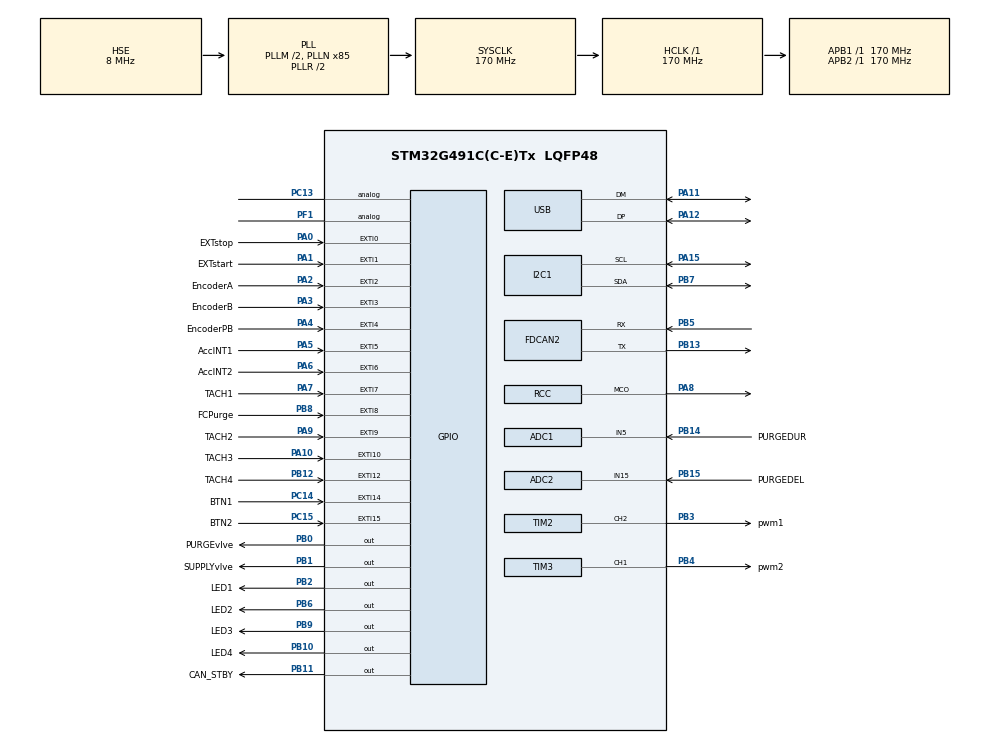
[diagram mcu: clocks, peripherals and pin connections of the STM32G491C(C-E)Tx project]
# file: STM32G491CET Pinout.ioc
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ADC1.Channel-2\#ChannelRegularConversion=ADC_CHANNEL_5
ADC1.ContinuousConvMode=ENABLE
ADC1.DMAContinuousRequests=ENABLE
ADC1.NbrOfConversionFlag=1
ADC1.OffsetNumber-2\#ChannelRegularConversion=ADC_OFFSET_NONE
ADC1.Rank-2\#ChannelRegularConversion=1
ADC1.SamplingTime-2\#ChannelRegularConversion=ADC_SAMPLETIME_24CYCLES_5
ADC1.master=1
ADC2.Channel-0\#ChannelRegularConversion=ADC_CHANNEL_15
ADC2.ContinuousConvMode=ENABLE
ADC2.DMAContinuousRequests=ENABLE
ADC2.NbrOfConversionFlag=1
ADC2.OffsetNumber-0\#ChannelRegularConversion=ADC_OFFSET_NONE
ADC2.Rank-0\#ChannelRegularConversion=1
ADC2.SamplingTime-0\#ChannelRegularConversion=ADC_SAMPLETIME_2CYCLES_5
Dma.ADC1.0.Direction=DMA_PERIPH_TO_MEMORY
Dma.ADC1.0.EventEnable=DISABLE
Dma.ADC1.0.Instance=DMA1_Channel1
Dma.ADC1.0.MemDataAlignment=DMA_MDATAALIGN_WORD
Dma.ADC1.0.MemInc=DMA_MINC_ENABLE
Dma.ADC1.0.Mode=DMA_CIRCULAR
Dma.ADC1.0.PeriphDataAlignment=DMA_PDATAALIGN_HALFWORD
Dma.ADC1.0.PeriphInc=DMA_PINC_DISABLE
Dma.ADC1.0.Polarity=HAL_DMAMUX_REQ_GEN_RISING
Dma.ADC1.0.Priority=DMA_PRIORITY_LOW
Dma.ADC1.0.RequestNumber=1
Dma.ADC1.0.SignalID=NONE
Dma.ADC1.0.SyncEnable=DISABLE
Dma.ADC1.0.SyncPolarity=HAL_DMAMUX_SYNC_NO_EVENT
Dma.ADC1.0.SyncRequestNumber=1
Dma.ADC1.0.SyncSignalID=NONE
Dma.ADC2.1.Direction=DMA_PERIPH_TO_MEMORY
Dma.ADC2.1.EventEnable=DISABLE
Dma.ADC2.1.Instance=DMA1_Channel2
Dma.ADC2.1.MemDataAlignment=DMA_MDATAALIGN_WORD
Dma.ADC2.1.MemInc=DMA_MINC_ENABLE
Dma.ADC2.1.Mode=DMA_CIRCULAR
Dma.ADC2.1.PeriphDataAlignment=DMA_PDATAALIGN_HALFWORD
Dma.ADC2.1.PeriphInc=DMA_PINC_DISABLE
Dma.ADC2.1.Polarity=HAL_DMAMUX_REQ_GEN_RISING
Dma.ADC2.1.Priority=DMA_PRIORITY_LOW
Dma.ADC2.1.RequestNumber=1
Dma.ADC2.1.SignalID=NONE
Dma.ADC2.1.SyncEnable=DISABLE
Dma.ADC2.1.SyncPolarity=HAL_DMAMUX_SYNC_NO_EVENT
Dma.ADC2.1.SyncRequestNumber=1
Dma.ADC2.1.SyncSignalID=NONE
Dma.I2C1_TX.2.Direction=DMA_MEMORY_TO_PERIPH
Dma.I2C1_TX.2.EventEnable=DISABLE
Dma.I2C1_TX.2.Instance=DMA1_Channel3
Dma.I2C1_TX.2.MemDataAlignment=DMA_MDATAALIGN_BYTE
Dma.I2C1_TX.2.MemInc=DMA_MINC_ENABLE
Dma.I2C1_TX.2.Mode=DMA_NORMAL
Dma.I2C1_TX.2.PeriphDataAlignment=DMA_PDATAALIGN_BYTE
Dma.I2C1_TX.2.PeriphInc=DMA_PINC_DISABLE
Dma.I2C1_TX.2.Polarity=HAL_DMAMUX_REQ_GEN_RISING
Dma.I2C1_TX.2.Priority=DMA_PRIORITY_LOW
Dma.I2C1_TX.2.RequestNumber=1
Dma.I2C1_TX.2.SignalID=NONE
Dma.I2C1_TX.2.SyncEnable=DISABLE
Dma.I2C1_TX.2.SyncPolarity=HAL_DMAMUX_SYNC_NO_EVENT
Dma.I2C1_TX.2.SyncRequestNumber=1
Dma.I2C1_TX.2.SyncSignalID=NONE
Dma.Request0=ADC1
Dma.Request1=ADC2
Dma.Request2=I2C1_TX
FDCAN2.AutoRetransmission=DISABLE
FDCAN2.CalculateBaudRateNominal=1000000
FDCAN2.CalculateTimeBitNominal=1000
FDCAN2.CalculateTimeQuantumNominal=125.0
FDCAN2.DataTimeSeg2=2
FDCAN2.FrameFormat=FDCAN_FRAME_FD_BRS
FDCAN2.Mode=FDCAN_MODE_NORMAL
FDCAN2.NominalPrescaler=1
FDCAN2.NominalSyncJumpWidth=2
FDCAN2.NominalTimeSeg1=5
FDCAN2.NominalTimeSeg2=2
FDCAN2.StdFiltersNbr=2
FREERTOS.BinarySemaphores01=i2cSema,Static,i2cSemaControlBlock,Available
FREERTOS.Queues01=canQueRxHeader,512,uint32_t,0,Static,RxHeaderQueBuffer,RxHeaderQueControlBlock;canQueRxData,512,uint8_t,0,Static,RxDataQueBuffer,RxDataQueControlBlock
FREERTOS.Tasks01=defaultTask,24,512,StartDefaultTask,Default,NULL,Static,defaultTaskBuffer,defaultTaskControlBlock;canReceive,32,512,StartTaskReceive,Default,NULL,Static,canReceiveBuffer,canReceiveControlBlock;canSend,25,512,StartTaskSend,Default,NULL,Static,canSendBuffer,canSendControlBlock;valveControl,26,512,valveContrl,Default,NULL,Static,valveControlBuffer,valveControlControlBlock;fuelCellData,27,512,StartFuelCellData,Default,NULL,Static,fuelCellDataBuffer,fuelCellDataControlBlock
FREERTOS.Timers01=purgetimer,purgeValveTimer,osTimerPeriodic,Default,NULL,Static,purgetimerControlBlock
FREERTOS.configENABLE_FPU=1
FREERTOS.configUSE_NEWLIB_REENTRANT=1
I2C1.Timing=0x40B285C2
Mcu.Family=STM32G4
Mcu.Name=STM32G491C(C-E)Tx
Mcu.Package=LQFP48
NVIC.EXTI0_IRQn=true\:5\:0\:false\:false\:true\:true\:true\:true\:true
NVIC.EXTI15_10_IRQn=true\:5\:0\:false\:false\:true\:true\:true\:true\:true
NVIC.EXTI1_IRQn=true\:5\:0\:false\:false\:true\:true\:true\:true\:true
NVIC.EXTI2_IRQn=true\:5\:0\:false\:false\:true\:true\:true\:true\:true
NVIC.EXTI3_IRQn=true\:5\:0\:false\:false\:true\:true\:true\:true\:true
NVIC.EXTI4_IRQn=true\:5\:0\:false\:false\:true\:true\:true\:true\:true
NVIC.EXTI9_5_IRQn=true\:5\:0\:false\:false\:true\:true\:true\:true\:true
NVIC.FDCAN2_IT0_IRQn=true\:5\:0\:false\:false\:true\:true\:true\:true\:true
NVIC.FDCAN2_IT1_IRQn=true\:5\:0\:false\:false\:true\:true\:true\:true\:true
NVIC.PriorityGroup=NVIC_PRIORITYGROUP_4
NVIC.TIM20_UP_IRQn=true\:15\:0\:false\:false\:true\:false\:false\:true\:true
NVIC.TimeBase=TIM20_UP_IRQn
NVIC.TimeBaseIP=TIM20
NVIC.USB_LP_IRQn=true\:5\:0\:false\:false\:true\:true\:false\:true\:true
PA0.GPIO_Label=EXTstop
PA0.Signal=GPXTI0
PA1.GPIO_Label=EXTstart
PA1.Signal=GPXTI1
PA10.GPIO_Label=TACH3
PA10.Signal=GPXTI10
PA11.Mode=Device
PA11.Signal=USB_DM
PA12.Mode=Device
PA12.Signal=USB_DP
PA13.Mode=Serial_Wire
PA13.Signal=SYS_JTMS-SWDIO
PA14.Mode=Serial_Wire
PA14.Signal=SYS_JTCK-SWCLK
PA15.GPIO_Pu=GPIO_NOPULL
PA15.GPIO_Speed=GPIO_SPEED_FREQ_VERY_HIGH
PA15.Mode=I2C
PA15.Signal=I2C1_SCL
PA2.GPIO_Label=EncoderA
PA2.GPIO_ModeDefaultEXTI=GPIO_MODE_IT_RISING
PA2.Signal=GPXTI2
PA3.GPIO_Label=EncoderB
PA3.Signal=GPXTI3
PA4.GPIO_Label=EncoderPB
PA4.Signal=GPXTI4
PA5.GPIO_Label=AccINT1
PA5.Signal=GPXTI5
PA6.GPIO_Label=AccINT2
PA6.Signal=GPXTI6
PA7.GPIO_Label=TACH1
PA7.Signal=GPXTI7
PA8.Mode=Clock-out
PA8.Signal=RCC_MCO
PA9.GPIO_Label=TACH2
PA9.Signal=GPXTI9
PB0.GPIO_Label=PURGEvlve
PB0.Signal=GPIO_Output
PB1.GPIO_Label=SUPPLYvlve
PB1.Signal=GPIO_Output
PB10.GPIO_Label=LED4
PB10.Signal=GPIO_Output
PB11.GPIO_Label=CAN_STBY
PB11.GPIO_PuPd=GPIO_PULLDOWN
PB11.Signal=GPIO_Output
PB12.GPIO_Label=TACH4
PB12.Signal=GPXTI12
PB13.GPIO_Speed=GPIO_SPEED_FREQ_HIGH
PB13.Mode=FDCAN_Activate
PB13.Signal=FDCAN2_TX
PB14.GPIO_Label=PURGEDUR
PB14.Mode=IN5-Single-Ended
PB14.Signal=ADC1_IN5
PB15.GPIO_Label=PURGEDEL
PB15.Mode=IN15-Single-Ended
PB15.Signal=ADC2_IN15
PB2.GPIO_Label=LED1
PB2.Signal=GPIO_Output
PB3.GPIO_Label=pwm1
PB3.Signal=S_TIM2_CH2
PB4.GPIO_Label=pwm2
PB4.Signal=S_TIM3_CH1
PB5.GPIO_PuPd=GPIO_PULLUP
PB5.GPIO_Speed=GPIO_SPEED_FREQ_HIGH
PB5.Mode=FDCAN_Activate
PB5.Signal=FDCAN2_RX
PB6.GPIO_Label=LED2
PB6.Signal=GPIO_Output
PB7.GPIO_Pu=GPIO_NOPULL
PB7.GPIO_Speed=GPIO_SPEED_FREQ_VERY_HIGH
PB7.Mode=I2C
PB7.Signal=I2C1_SDA
PB8-BOOT0.GPIO_Label=FCPurge
PB8-BOOT0.GPIO_PuPd=GPIO_PULLUP
PB8-BOOT0.Signal=GPXTI8
PB9.GPIO_Label=LED3
PB9.Signal=GPIO_Output
PC13.Signal=GPIO_Analog
PC14-OSC32_IN.GPIO_Label=BTN1
PC14-OSC32_IN.GPIO_ModeDefaultEXTI=GPIO_MODE_IT_RISING
PC14-OSC32_IN.GPIO_PuPd=GPIO_PULLUP
PC14-OSC32_IN.Signal=GPXTI14
PC15-OSC32_OUT.GPIO_Label=BTN2
PC15-OSC32_OUT.GPIO_ModeDefaultEXTI=GPIO_MODE_IT_RISING
PC15-OSC32_OUT.GPIO_PuPd=GPIO_PULLUP
PC15-OSC32_OUT.Signal=GPXTI15
PF0-OSC_IN.Mode=HSE-External-Clock-Source
PF0-OSC_IN.Signal=RCC_OSC_IN
PF1-OSC_OUT.Signal=GPIO_Analog
ProjectManager.HeapSize=0x400
ProjectManager.StackSize=0x800
ProjectManager.TargetToolchain=STM32CubeIDE
RCC.ADC12Freq_Value=170000000
RCC.ADC345Freq_Value=170000000
RCC.AHBFreq_Value=170000000
RCC.APB1Freq_Value=170000000
RCC.APB1TimFreq_Value=170000000
RCC.APB2Freq_Value=170000000
RCC.APB2TimFreq_Value=170000000
RCC.CortexFreq_Value=170000000
RCC.EXTERNAL_CLOCK_VALUE=12288000
RCC.FDCANCLockSelection=RCC_FDCANCLKSOURCE_HSE
RCC.HCLKFreq_Value=170000000
RCC.HSE_VALUE=8000000
RCC.HSI48_VALUE=48000000
RCC.HSI_VALUE=16000000
RCC.LSE_VALUE=32768
RCC.PLLM=RCC_PLLM_DIV2
RCC.PLLN=85
RCC.PLLQ=RCC_PLLQ_DIV4
RCC.PLLSourceVirtual=RCC_PLLSOURCE_HSE
RCC.SYSCLKFreq_VALUE=170000000
RCC.SYSCLKSource=RCC_SYSCLKSOURCE_PLLCLK
RCC.USBFreq_Value=48000000
RCC.VCOOutputFreq_Value=340000000
SH.S_TIM2_CH2.0=TIM2_CH2,PWM Generation2 CH2
SH.S_TIM3_CH1.0=TIM3_CH1,PWM Generation1 CH1
TIM2.AutoReloadPreload=TIM_AUTORELOAD_PRELOAD_ENABLE
TIM2.Channel-PWM\ Generation2\ CH2=TIM_CHANNEL_2
TIM2.PeriodNoDither=99-1
TIM2.Prescaler=800-1
TIM3.AutoReloadPreload=TIM_AUTORELOAD_PRELOAD_ENABLE
TIM3.Channel-PWM\ Generation1\ CH1=TIM_CHANNEL_1
TIM3.PeriodNoDither=99-1
TIM3.Prescaler=800-1
USB_DEVICE.CLASS_NAME_FS=CDC
USB_DEVICE.VirtualMode=Cdc
USB_DEVICE.VirtualModeFS=Cdc_FS
VP_FREERTOS_VS_CMSIS_V2.Mode=CMSIS_V2
VP_SYS_VS_DBSignals.Mode=DisableDeadBatterySignals
VP_SYS_VS_tim20.Mode=TIM20
VP_USB_DEVICE_VS_USB_DEVICE_CDC_FS.Mode=CDC_FS
board=custom

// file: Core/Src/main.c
/* USER CODE BEGIN Header */
/**
  ******************************************************************************
  * @file           : main.c
  * @brief          : Main program body
  ******************************************************************************
  * @attention
  *
  * Copyright (c) 2025 STMicroelectronics.
  * All rights reserved.
  *
  * This software is licensed under terms that can be found in the LICENSE file
  * in the root directory of this software component.
  * If no LICENSE file comes with this software, it is provided AS-IS.
  *
  ******************************************************************************
  */
/* USER CODE END Header */
#include "main.h"
#include "cmsis_os.h"
#include "adc.h"
#include "dma.h"
#include "fdcan.h"
#include "i2c.h"
#include "tim.h"
#include "usb_device.h"
#include "gpio.h"

/* USER CODE BEGIN Includes */
#include "ADS1115.h"
/* USER CODE END Includes */

/* USER CODE BEGIN PD */
#define ADS1115_ADR1 0x48
/* USER CODE END PD */

/* USER CODE BEGIN PV */

ADS1115_Config_t configReg;
ADS1115_Handle_t *pADS_1;

/* USER CODE END PV */

void SystemClock_Config(void);
void MX_FREERTOS_Init(void);

int main(void)
{

  /* MCU Configuration--------------------------------------------------------*/

  /* Reset of all peripherals, Initializes the Flash interface and the Systick. */
  HAL_Init();

  /* Configure the system clock */
  SystemClock_Config();

  /* Initialize all configured peripherals */
  MX_GPIO_Init();
  MX_DMA_Init();
  MX_ADC1_Init();
  MX_FDCAN2_Init();
  MX_I2C1_Init();
  MX_TIM2_Init();
  MX_ADC2_Init();
  MX_TIM3_Init();
  /* USER CODE BEGIN 2 */

  // Set up config parameters for ADS1115 chip before sending
  configReg.channel = CHANNEL_AIN0_GND;
  configReg.pgaConfig = PGA_4_096;
  configReg.operatingMode = MODE_CONTINOUS;
  configReg.dataRate = DRATE_128;
  configReg.compareMode = COMP_HYSTERESIS;
  configReg.polarityMode = POLARITY_ACTIVE_LOW;
  configReg.latchingMode = LATCHING_NONE;
  configReg.queueComparator = QUEUE_ONE;

  // NOTE: This init function uses malloc and must be called before the
  // scheduler
  pADS_1 = ADS1115_init(&hi2c1, (uint16_t)ADS1115_ADR1, configReg);
  ADS1115_updateConfig(pADS_1, configReg);
  ADS1115_setConversionReadyPin(pADS_1);
  /* USER CODE END 2 */

  /* Init scheduler */
  osKernelInitialize();

  /* Call init function for freertos objects (in cmsis_os2.c) */
  MX_FREERTOS_Init();

  /* Start scheduler */
  osKernelStart();

  /* We should never get here as control is now taken by the scheduler */

  /* Infinite loop */
  while (1)
  {

  }
}

void SystemClock_Config(void)
{
  RCC_OscInitTypeDef RCC_OscInitStruct = {0};
  RCC_ClkInitTypeDef RCC_ClkInitStruct = {0};

  /** Configure the main internal regulator output voltage
  */
  HAL_PWREx_ControlVoltageScaling(PWR_REGULATOR_VOLTAGE_SCALE1_BOOST);

  /** Initializes the RCC Oscillators according to the specified parameters
  * in the RCC_OscInitTypeDef structure.
  */
  RCC_OscInitStruct.OscillatorType = RCC_OSCILLATORTYPE_HSI|RCC_OSCILLATORTYPE_HSI48
                              |RCC_OSCILLATORTYPE_HSE;
  RCC_OscInitStruct.HSEState = RCC_HSE_BYPASS;
  RCC_OscInitStruct.HSIState = RCC_HSI_ON;
  RCC_OscInitStruct.HSICalibrationValue = RCC_HSICALIBRATION_DEFAULT;
  RCC_OscInitStruct.HSI48State = RCC_HSI48_ON;
  RCC_OscInitStruct.PLL.PLLState = RCC_PLL_ON;
  RCC_OscInitStruct.PLL.PLLSource = RCC_PLLSOURCE_HSE;
  RCC_OscInitStruct.PLL.PLLM = RCC_PLLM_DIV2;
  RCC_OscInitStruct.PLL.PLLN = 85;
  RCC_OscInitStruct.PLL.PLLP = RCC_PLLP_DIV2;
  RCC_OscInitStruct.PLL.PLLQ = RCC_PLLQ_DIV4;
  RCC_OscInitStruct.PLL.PLLR = RCC_PLLR_DIV2;
  if (HAL_RCC_OscConfig(&RCC_OscInitStruct) != HAL_OK)
  {
    Error_Handler();
  }

  /** Initializes the CPU, AHB and APB buses clocks
  */
  RCC_ClkInitStruct.ClockType = RCC_CLOCKTYPE_HCLK|RCC_CLOCKTYPE_SYSCLK
                              |RCC_CLOCKTYPE_PCLK1|RCC_CLOCKTYPE_PCLK2;
  RCC_ClkInitStruct.SYSCLKSource = RCC_SYSCLKSOURCE_PLLCLK;
  RCC_ClkInitStruct.AHBCLKDivider = RCC_SYSCLK_DIV1;
  RCC_ClkInitStruct.APB1CLKDivider = RCC_HCLK_DIV1;
  RCC_ClkInitStruct.APB2CLKDivider = RCC_HCLK_DIV1;

  if (HAL_RCC_ClockConfig(&RCC_ClkInitStruct, FLASH_LATENCY_4) != HAL_OK)
  {
    Error_Handler();
  }
  HAL_RCC_MCOConfig(RCC_MCO1, RCC_MCO1SOURCE_HSI, RCC_MCODIV_1);
}

void HAL_TIM_PeriodElapsedCallback(TIM_HandleTypeDef *htim)
{
  if (htim->Instance == TIM20)
  {
    HAL_IncTick();
  }
}

void Error_Handler(void)
{
  __disable_irq();
  while (1)
  {
  }
}

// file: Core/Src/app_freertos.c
/* USER CODE BEGIN Header */
/**
 ******************************************************************************
 * File Name          : app_freertos.c
 * Description        : Code for freertos applications
 ******************************************************************************
 * @attention
 *
 * Copyright (c) 2025 STMicroelectronics.
 * All rights reserved.
 *
 * This software is licensed under terms that can be found in the LICENSE file
 * in the root directory of this software component.
 * If no LICENSE file comes with this software, it is provided AS-IS.
 *
 ******************************************************************************
 */
/* USER CODE END Header */

#include "FreeRTOS.h"
#include "task.h"
#include "main.h"
#include "cmsis_os.h"

#include "usb_device.h"

/* USER CODE BEGIN Includes */
#include "ADS1115.h"
#include "debug-log.h"
#include "ecocar_can.h"
#include "exported_typedef.h"
#include "fdcan.h"
#include "lis3dh.h"
#include "ssd1306.h"
#include "ssd1306_fonts.h"
#include "ssd1306_tests.h"
#include "tim.h"
#include "usb_device.h"
#include "usbd_cdc_if.h"
#include <math.h>
#include <stdint.h>
#include <stdio.h>
#include "adc.h"
/* USER CODE END Includes */

typedef StaticTask_t osStaticThreadDef_t;
typedef StaticQueue_t osStaticMessageQDef_t;
typedef StaticTimer_t osStaticTimerDef_t;
typedef StaticSemaphore_t osStaticSemaphoreDef_t;
/* USER CODE BEGIN PTD */

// PID structure
typedef struct {
	float num[3]; // Numerator coefficients
	float den[3]; // Denominator coefficients
	float u[3];   // Input history
	float y[3];   // Output history
} pidParam_t;
/* USER CODE END PTD */

/* USER CODE BEGIN PD */
#define ADS1115_ADR1 0x48
#define TACH_TIMER_INTERVAL 1000
#define PID_TIMER_INTERVAL 1 // in ms
#define PURGE_TIMED 0X01
#define PURGE_CHARGE 0X02
/* USER CODE END PD */

/* USER CODE BEGIN Variables */
//CAN Data
uint32_t TachTracker[4] = { 0 };
FDCAN_FccPack1_t fc_data1 = { 0 };
FDCAN_FccPack2_t fc_data2 = { 0 };
FDCAN_FccPack3_t fc_data3 = { 0 };
FDCAN_FetPack_t fet_data = { 0 };
FDCAN_RelPackNrg_t energy_data = { 0 };
ECOCAN_RelPackChrg_t charge_data = { 0 };

uint8_t FC_substate = PURGE_CHARGE;

uint8_t button_flags = 0x00;

fetState_t fet_state = FET_STBY;
rbState_t relay_state = RELAY_STBY;
uint32_t purge_dbuffer;
uint32_t purge_tbuffer;
pidParam_t myPid;

uint32_t lastPurge_ms = 0;
uint32_t currentTime_ms = 0;
float fcSetpointTemp = 35; // Celsius
float fc_charge_last = 0;
float fc_charge = 0;
// Default Purge values
volatile uint32_t purgeDelay_ms = 60000; // time delay between purge is ms
volatile uint32_t purgeTime_ms = 1250; // purge duration // With small valve 2000 MS for 500 mL, 1.25 for larger
volatile uint8_t purge_timer_flag = 0;

float pdelay_unconfirmed = 0;
float ptime_unconfirmed = 0;
char ScreenBuffer[64];

/* USER CODE END Variables */
/* Definitions for defaultTask */
osThreadId_t defaultTaskHandle;
uint32_t defaultTaskBuffer[512];
osStaticThreadDef_t defaultTaskControlBlock;
const osThreadAttr_t defaultTask_attributes = { .name = "defaultTask",
		.stack_mem = &defaultTaskBuffer[0], .stack_size =
				sizeof(defaultTaskBuffer), .cb_mem = &defaultTaskControlBlock,
		.cb_size = sizeof(defaultTaskControlBlock), .priority =
				(osPriority_t) osPriorityNormal, };
/* Definitions for canReceive */
osThreadId_t canReceiveHandle;
uint32_t canReceiveBuffer[512];
osStaticThreadDef_t canReceiveControlBlock;
const osThreadAttr_t canReceive_attributes = { .name = "canReceive",
		.stack_mem = &canReceiveBuffer[0], .stack_size =
				sizeof(canReceiveBuffer), .cb_mem = &canReceiveControlBlock,
		.cb_size = sizeof(canReceiveControlBlock), .priority =
				(osPriority_t) osPriorityAboveNormal, };
/* Definitions for canSend */
osThreadId_t canSendHandle;
uint32_t canSendBuffer[512];
osStaticThreadDef_t canSendControlBlock;
const osThreadAttr_t canSend_attributes = { .name = "canSend", .stack_mem =
		&canSendBuffer[0], .stack_size = sizeof(canSendBuffer), .cb_mem =
		&canSendControlBlock, .cb_size = sizeof(canSendControlBlock),
		.priority = (osPriority_t) osPriorityNormal1, };
/* Definitions for valveControl */
osThreadId_t valveControlHandle;
uint32_t valveControlBuffer[512];
osStaticThreadDef_t valveControlControlBlock;
const osThreadAttr_t valveControl_attributes = { .name = "valveControl",
		.stack_mem = &valveControlBuffer[0], .stack_size =
				sizeof(valveControlBuffer), .cb_mem = &valveControlControlBlock,
		.cb_size = sizeof(valveControlControlBlock), .priority =
				(osPriority_t) osPriorityNormal2, };
/* Definitions for fuelCellData */
osThreadId_t fuelCellDataHandle;
uint32_t fuelCellDataBuffer[512];
osStaticThreadDef_t fuelCellDataControlBlock;
const osThreadAttr_t fuelCellData_attributes = { .name = "fuelCellData",
		.stack_mem = &fuelCellDataBuffer[0], .stack_size =
				sizeof(fuelCellDataBuffer), .cb_mem = &fuelCellDataControlBlock,
		.cb_size = sizeof(fuelCellDataControlBlock), .priority =
				(osPriority_t) osPriorityNormal3, };
/* Definitions for canQueRxHeader */
osMessageQueueId_t canQueRxHeaderHandle;
uint8_t RxHeaderQueBuffer[512 * sizeof(uint32_t)];
osStaticMessageQDef_t RxHeaderQueControlBlock;
const osMessageQueueAttr_t canQueRxHeader_attributes = { .name =
		"canQueRxHeader", .cb_mem = &RxHeaderQueControlBlock, .cb_size =
		sizeof(RxHeaderQueControlBlock), .mq_mem = &RxHeaderQueBuffer,
		.mq_size = sizeof(RxHeaderQueBuffer) };
/* Definitions for canQueRxData */
osMessageQueueId_t canQueRxDataHandle;
uint8_t RxDataQueBuffer[512 * sizeof(uint8_t)];
osStaticMessageQDef_t RxDataQueControlBlock;
const osMessageQueueAttr_t canQueRxData_attributes = { .name = "canQueRxData",
		.cb_mem = &RxDataQueControlBlock, .cb_size =
				sizeof(RxDataQueControlBlock), .mq_mem = &RxDataQueBuffer,
		.mq_size = sizeof(RxDataQueBuffer) };
/* Definitions for purgetimer */
osTimerId_t purgetimerHandle;
osStaticTimerDef_t purgetimerControlBlock;
const osTimerAttr_t purgetimer_attributes = { .name = "purgetimer", .cb_mem =
		&purgetimerControlBlock, .cb_size = sizeof(purgetimerControlBlock), };
/* Definitions for i2cSema */
osSemaphoreId_t i2cSemaHandle;
osStaticSemaphoreDef_t i2cSemaControlBlock;
const osSemaphoreAttr_t i2cSema_attributes = { .name = "i2cSema", .cb_mem =
		&i2cSemaControlBlock, .cb_size = sizeof(i2cSemaControlBlock), };

/* USER CODE BEGIN FunctionPrototypes */
osThreadId_t usbTaskHandle;
uint32_t usbTaskBuffer[1024];
osStaticThreadDef_t usbTaskControlBlock;
const osThreadAttr_t usbTask_attributes = { .name = "usbTask", .stack_mem =
		&usbTaskBuffer[0], .stack_size = sizeof(usbTaskBuffer), .cb_mem =
		&usbTaskControlBlock, .cb_size = sizeof(usbTaskControlBlock),
		.priority = (osPriority_t) osPriorityNormal4, };
osTimerId_t pidtimerHandle;
osStaticTimerDef_t pidtimerControlBlock;
const osTimerAttr_t pidtimer_attributes = { .name = "pidtimer", .cb_mem =
		&pidtimerControlBlock, .cb_size = sizeof(pidtimerControlBlock), };
osTimerId_t tachtimerHandle;
osStaticTimerDef_t tachtimerControlBlock;
const osTimerAttr_t tachtimer_attributes = { .name = "tachtimer", .cb_mem =
		&tachtimerControlBlock, .cb_size = sizeof(tachtimerControlBlock), };
osMessageQueueId_t usbQueReceiveHandle;
uint8_t usbQueReceiveBuffer[2048 * sizeof(char)];
osStaticMessageQDef_t usbQueReceiveControlBlock;
const osMessageQueueAttr_t usbQueReceive_attributes = { .name = "usbQueReceive",
		.cb_mem = &usbQueReceiveControlBlock, .cb_size =
				sizeof(usbQueReceiveControlBlock), .mq_mem =
				&usbQueReceiveBuffer, .mq_size = sizeof(usbQueReceiveBuffer) };
osMessageQueueId_t usbQueSendHandle;
uint8_t usbQueSendBuffer[2048 * sizeof(char)];
osStaticMessageQDef_t usbQueSendControlBlock;
const osMessageQueueAttr_t usbQueSend_attributes = { .name = "usbQueSend",
		.cb_mem = &usbQueSendControlBlock, .cb_size =
				sizeof(usbQueSendControlBlock), .mq_mem = &usbQueSendBuffer,
		.mq_size = sizeof(usbQueSendBuffer) };

void HAL_FDCAN_RxFifo0Callback(FDCAN_HandleTypeDef *hfdcan, uint32_t RxFifo0ITs) {
	FDCAN_RxHeaderTypeDef RxHeader;
	uint8_t RxData[64];
	if ((RxFifo0ITs & FDCAN_IT_RX_FIFO0_NEW_MESSAGE) != RESET) {
		/* Retrieve Rx messages from RX FIFO0 */
		if (HAL_FDCAN_GetRxMessage(hfdcan, FDCAN_RX_FIFO0, &RxHeader, RxData)
				!= HAL_OK) {
			/* Reception Error */
			Error_Handler();
		}
		if (osMessageQueuePut(canQueRxHeaderHandle, &RxHeader.Identifier, 0, 0)
				!= osOK
				|| osMessageQueuePut(canQueRxHeaderHandle, &RxHeader.DataLength,
						0, 0) != osOK) {
			Error_Handler();
		}
		for (uint32_t i = 0; i < mapDlcToBytes(RxHeader.DataLength); i++) {
			if (osMessageQueuePut(canQueRxDataHandle, &RxData[i], 0, 0)
					!= osOK) {
				Error_Handler();
			}
		}
	}
}

void HAL_FDCAN_ErrorStatusCallback(FDCAN_HandleTypeDef *hfdcan,
		uint32_t ErrorStatusITs) {
	if ((ErrorStatusITs & FDCAN_IT_BUS_OFF) != RESET) {
		printf("BUS SHUT OFF\r\n");
	}
	if ((ErrorStatusITs & FDCAN_IT_ERROR_PASSIVE) != RESET) {
		printf("BUS ERROR PASSIVE\r\n");
	}
	if ((ErrorStatusITs & FDCAN_IT_ERROR_WARNING) != RESET) {
		printf("BUS ERROR WARNING\r\n");
	}
}

uint32_t ticks, lastTicks = 0;
uint32_t ticks2, lastTicks2 = 0;
uint32_t ticks_boot, lastTicks_boot = 0;
int8_t oled_page = 0;
uint8_t encode_state, encode_last_state = 0;
uint32_t encode_ticks, encode_last_tick = 0;
uint32_t ticksDriver, ticksDriverLast = 0;
uint8_t fan_toggle = 0;
int purge_force_flag = 0;
//uint32_t btnB_doubleTime, btnB_doubleLast = 0;
void HAL_GPIO_EXTI_Callback(uint16_t GPIO_Pin) {
	/* Prevent unused argument(s) compilation warning */

	switch (GPIO_Pin) {
	case TACH1_Pin:
		TachTracker[0]++;
		break;
	case TACH2_Pin:
		TachTracker[1]++;
		break;
	case TACH3_Pin:
		TachTracker[2]++;
		break;
	case TACH4_Pin:
		TachTracker[3]++;
		break;
	case EXTstart_Pin:
		ticksDriver = osKernelGetTickCount();
		if (ticksDriver - ticksDriverLast >= 1000) {
			ticksDriverLast = ticksDriver;

			// Trigger a FET state change
			SET_BIT(button_flags, 0x01);
		}
		break;
	case BTN1_Pin: // GPA
		ticks = osKernelGetTickCount();
		if (ticks - lastTicks >= 1000) {
			lastTicks = ticks;

			// Trigger a FET state change
			SET_BIT(button_flags, 0x01);
		}
		break;
	case BTN2_Pin: // GPB
		ticks2 = osKernelGetTickCount();
		if (ticks2 - lastTicks2 >= 1000) {
			lastTicks2 = ticks2;
			//btnB_doubleTime = HAL_GetTick();
//			if (btnB_doubleTime - btnB_doubleLast <= 300) {
//				if (relay_state == RELAY_STRTP || relay_state == RELAY_RUN
//						|| relay_state == RELAY_CHRGE) {
//				}
//
//			} else {
			purgeDelay_ms = (uint32_t) pdelay_unconfirmed;
			purgeTime_ms = (uint32_t) ptime_unconfirmed;
			purge_timer_flag = 1;

//			}
			fan_toggle ^= (0x01);

		} //"confirms" the purge timers

		break; // Changed by abi, cuz this wasnt documented why it was missing.
	case FCPurge_Pin: // GPB
		ticks_boot = osKernelGetTickCount();
		if (ticks_boot - lastTicks_boot >= 1000) {
			purge_force_flag = 1;

		} //Manual purge

		break;
	case EncoderA_Pin:
	case EncoderB_Pin:
		encode_ticks = osKernelGetTickCount();

		if (encode_ticks - encode_last_tick >= 750) {
			encode_state = ((HAL_GPIO_ReadPin(EncoderA_GPIO_Port, EncoderA_Pin)
					<< 1) | (HAL_GPIO_ReadPin(EncoderB_GPIO_Port,
			EncoderB_Pin)));

			if (encode_last_state == 3 && encode_state == 2) { // 3 -> 2 transition
				oled_page++;
				if (oled_page >= 2) { // page limit, of 2 (page 0 & 1
					oled_page = 0;
				}
			} else if (encode_last_state == 2 && encode_state == 0) { // 2 -> 0 transition
				oled_page++;
				if (oled_page >= 2) { // page limit, of 2 (page 0 & 1
					oled_page = 0;
				}
			} else if (encode_last_state == 0 && encode_state == 1) { // 0 -> 1 transition
				oled_page++;
				if (oled_page >= 2) { // page limit, of 2 (page 0 & 1
					oled_page = 0;
				}
			} else if (encode_last_state == 1 && encode_state == 3) { // 1 -> 3 transition
				oled_page++;
				if (oled_page >= 2) { // page limit, of 2 (page 0 & 1
					oled_page = 0;
				}
			} else if (encode_last_state == 3 && encode_state == 1) { // 3 -> 1 transition
				oled_page--;
				if (oled_page < 0) { // page limit, of 2 (page 0 & 1
					oled_page = 1;
				}
			} else if (encode_last_state == 1 && encode_state == 0) { // 1 -> 0 transition
				oled_page--;
				if (oled_page < 0) { // page limit, of 2 (page 0 & 1
					oled_page = 1;
				}
			} else if (encode_last_state == 0 && encode_state == 2) { // 0 -> 2 transition
				oled_page--;
				if (oled_page < 0) { // page limit, of 2 (page 0 & 1
					oled_page = 1;
				}
			} else if (encode_last_state == 2 && encode_state == 3) { // 2 -> 3 transition
				oled_page--;
				if (oled_page < 0) { // page limit, of 2 (page 0 & 1
					oled_page = 1;
				}
			}
			encode_last_state = encode_state;
			encode_last_tick = encode_ticks;
		}

		break;

	default:
		break;
	}
	/* NOTE: This function should not be modified, when the callback is needed,
	 the HAL_GPIO_EXTI_Callback could be implemented in the user file
	 */
}

void PID_Init(pidParam_t *pid);
float PID_Compute(pidParam_t *pid, float setpoint, float measured_temp);
void calcPidTimer(void *argument);
void calcTachRpmTimer(void *argument);
extern void StartUsbTask(void *argument);
/* USER CODE END FunctionPrototypes */

void StartDefaultTask(void *argument);
void StartTaskReceive(void *argument);
void StartTaskSend(void *argument);
void valveContrl(void *argument);
void StartFuelCellData(void *argument);
void purgeValveTimer(void *argument);

void MX_FREERTOS_Init(void); /* (MISRA C 2004 rule 8.1) */

void MX_FREERTOS_Init(void) {

	/* Create the semaphores(s) */
	/* creation of i2cSema */
	i2cSemaHandle = osSemaphoreNew(1, 1, &i2cSema_attributes);

	/* Create the timer(s) */
	/* creation of purgetimer */
	purgetimerHandle = osTimerNew(purgeValveTimer, osTimerPeriodic, NULL,
			&purgetimer_attributes);

	/* USER CODE BEGIN RTOS_TIMERS */
	tachtimerHandle = osTimerNew(calcTachRpmTimer, osTimerPeriodic, NULL,
			&tachtimer_attributes);
	pidtimerHandle = osTimerNew(calcPidTimer, osTimerPeriodic, NULL,
			&pidtimer_attributes);
	/* start timers, add new ones, ... */
	/* USER CODE END RTOS_TIMERS */

	/* Create the queue(s) */
	/* creation of canQueRxHeader */
	canQueRxHeaderHandle = osMessageQueueNew(512, sizeof(uint32_t),
			&canQueRxHeader_attributes);

	/* creation of canQueRxData */
	canQueRxDataHandle = osMessageQueueNew(512, sizeof(uint8_t),
			&canQueRxData_attributes);

	/* USER CODE BEGIN RTOS_QUEUES */
	/* add queues, ... */

	/* creation of usbQueReceive */
	usbQueReceiveHandle = osMessageQueueNew(2048, sizeof(char),
			&usbQueReceive_attributes);

	/* creation of usbQueSend */
	usbQueSendHandle = osMessageQueueNew(2048, sizeof(char),
			&usbQueSend_attributes);

	/* USER CODE END RTOS_QUEUES */

	/* Create the thread(s) */
	/* creation of defaultTask */
	defaultTaskHandle = osThreadNew(StartDefaultTask, NULL,
			&defaultTask_attributes);

	/* creation of canReceive */
	canReceiveHandle = osThreadNew(StartTaskReceive, NULL,
			&canReceive_attributes);

	/* creation of canSend */
	canSendHandle = osThreadNew(StartTaskSend, NULL, &canSend_attributes);

	/* creation of valveControl */
	valveControlHandle = osThreadNew(valveContrl, NULL,
			&valveControl_attributes);

	/* creation of fuelCellData */
	fuelCellDataHandle = osThreadNew(StartFuelCellData, NULL,
			&fuelCellData_attributes);

	/* USER CODE BEGIN RTOS_THREADS */
	/* add threads, ... */
	usbTaskHandle = osThreadNew(StartUsbTask, NULL, &usbTask_attributes);
	/* USER CODE END RTOS_THREADS */

}

void StartDefaultTask(void *argument) {
	/* init code for USB_Device */
	MX_USB_Device_Init();
	/* USER CODE BEGIN StartDefaultTask */
	// Let other tasks use i2c during startup
	osDelay(100);

	// Init screen
	osSemaphoreAcquire(i2cSemaHandle, osWaitForever);
	ssd1306_Init();

	// Display the test bitmap for 2.5 seconds
	ssd1306_TestDrawBitmap();
	osSemaphoreRelease(i2cSemaHandle);
	osDelay(2500); // Delay for 2.5 seconds

	osSemaphoreAcquire(i2cSemaHandle, osWaitForever);
	ssd1306_Fill(Black);
	ssd1306_UpdateScreen();

	ssd1306_TestDrawBitmap2();
	ssd1306_Fill(Black);
	ssd1306_UpdateScreen();
	osSemaphoreRelease(i2cSemaHandle);

	HAL_ADCEx_Calibration_Start(&hadc1, ADC_SINGLE_ENDED);
	HAL_ADCEx_Calibration_Start(&hadc2, ADC_SINGLE_ENDED);
	HAL_ADC_Start_DMA(&hadc1, &purge_tbuffer, 1);
	HAL_ADC_Start_DMA(&hadc2, &purge_dbuffer, 1);

	/* TODO: More screen stuff */

	for (;;) {
// Used for non-essential peripheral control; OLED,POTS,Encoder,

		ptime_unconfirmed = (float) purge_tbuffer / 4096 * 900 + 100; // Max time of 1 second, min of 0.1 s
		pdelay_unconfirmed = (float) purge_dbuffer / 4096 * 40000 + 25000; //max time 70 seconds, min time of 25 s
		currentTime_ms = HAL_GetTick();
		osSemaphoreAcquire(i2cSemaHandle, osWaitForever);

		if ((oled_page == 0x0 || oled_page == 0x2)) {
			ssd1306_SetCursor(0, 0); // Adjust Y position as needed
			ssd1306_Fill(Black);
			//ssd1306_UpdateScreen();

			if (READ_BIT(button_flags, 1 << 7) == 1 << 7) {
				sprintf(ScreenBuffer, "STATE: %s", "ALARM");
			} else {

				static char temp_string[32] = { 0 };
				memset(temp_string, 0, 32 * sizeof(char));
				switch (relay_state) {
				case RELAY_STBY:
					sprintf(temp_string, "%s", "STBY");
					break;
				case RELAY_STRTP:
					sprintf(temp_string, "%s", "STRTP");
					break;
				case RELAY_CHRGE:
					sprintf(temp_string, "%s", "CHRGE");
					break;
				case RELAY_RUN:
					sprintf(temp_string, "%s", "RUN");
					break;
				default:
					break;
				}

				sprintf(ScreenBuffer, "STATE: %s", temp_string);
			}
			ssd1306_WriteString(ScreenBuffer, Font_11x18, White);

			sprintf(ScreenBuffer, "Last PRG: %3.0f(s)",
					(float) (currentTime_ms - lastPurge_ms) / 1000);
			ssd1306_SetCursor(0, 20);
			ssd1306_WriteString(ScreenBuffer, Font_7x10, White);

			sprintf(ScreenBuffer, "Charge:%4.0f(As)",
					(fc_charge - fc_charge_last));

			ssd1306_SetCursor(0, 30);
			ssd1306_WriteString(ScreenBuffer, Font_7x10, White);

			sprintf(ScreenBuffer, "FC Pres:%.1f",
					(float) fc_data1.fc_press / FDCAN_FOUR_FLT_PREC);
			ssd1306_SetCursor(0, 40);
			ssd1306_WriteString(ScreenBuffer, Font_7x10, White);

			sprintf(ScreenBuffer, "FC Temp:%.1f",
					(float) fc_data1.fc_temp / FDCAN_FOUR_FLT_PREC);
			ssd1306_SetCursor(0, 50);
			ssd1306_WriteString(ScreenBuffer, Font_7x10, White);

		} else if ((oled_page == 0x01 || oled_page == 0x03)) {
			ssd1306_SetCursor(0, 0);
			sprintf(ScreenBuffer, "UNCONFIRMED");
			ssd1306_WriteString(ScreenBuffer, Font_11x18, White);

			sprintf(ScreenBuffer, "Delay: %.2f(s)", pdelay_unconfirmed / 1000);
			ssd1306_SetCursor(0, 20);
			ssd1306_WriteString(ScreenBuffer, Font_7x10, White);

			sprintf(ScreenBuffer, "Duration:%.2f(s)", ptime_unconfirmed / 1000);
			ssd1306_SetCursor(0, 30);
			ssd1306_WriteString(ScreenBuffer, Font_7x10, White);

			ssd1306_FillRectangle(0, 40, 128, 60, Black);

		}
		ssd1306_UpdateScreen(); // Update the screen
		osSemaphoreRelease(i2cSemaHandle);

		osDelay(100);
	}
	/* USER CODE END StartDefaultTask */
}

void StartTaskReceive(void *argument) {
	/* USER CODE BEGIN StartTaskReceive */
	/* Infinite loop */
	FDCAN_RxHeaderTypeDef localRxHeader = { 0 };
	uint8_t ret[64] = { 0 };

	/* TODO: Implement receive CAN stuff */
	HAL_GPIO_WritePin(CAN_STBY_GPIO_Port, CAN_STBY_Pin, GPIO_PIN_RESET);

	for (;;) {
		if (osMessageQueueGet(canQueRxHeaderHandle, &localRxHeader.Identifier,
				0,
				osWaitForever) == osOK) {

			if (osMessageQueueGet(canQueRxHeaderHandle,
					&localRxHeader.DataLength, 0, 0) != osOK) {
				Error_Handler();
			}

			for (uint8_t i = 0; i < mapDlcToBytes(localRxHeader.DataLength);
					i++) {
				if (osMessageQueueGet(canQueRxDataHandle, &ret[i], 0, 0)
						!= osOK) {
					Error_Handler();
				}
			}

			switch (localRxHeader.Identifier) {
			case FDCAN_H2ALARM_ID:
				// H2 ALARM
				if (ret[0] == 1) {
					// Once this flag is raised, system reset needs to occur
					// to clear
					SET_BIT(button_flags, 0x80);
				}
				break;
			case FDCAN_SYNCLED_ID:
				// CAN SYNC LED
				if (ret[0] == 1) {
					HAL_GPIO_WritePin(LED1_GPIO_Port, LED1_Pin, GPIO_PIN_SET);
				} else {
					HAL_GPIO_WritePin(LED1_GPIO_Port, LED1_Pin, GPIO_PIN_RESET);
				}
				break;
			case FDCAN_RELSTATE_ID:
				relay_state = ret[0];
				printf("Updating FCC (0x%x) state\r\n", relay_state);
				break;
			case FDCAN_RELPACKENERGY_ID:
				memcpy(energy_data.FDCAN_RawRelPackNrg, ret,
						mapDlcToBytes(localRxHeader.DataLength));
				break;
			case ECOCAN_RELPACKCHARGE_ID:
				memcpy(charge_data.ECOCAN_RawRelPackChrg, ret,
						mapDlcToBytes(localRxHeader.DataLength));
				break;

			default:
				log_info("Received CANID 0x%x but did nothing with it!",
						localRxHeader.Identifier);
				break;
			}

		} else {
			log_err("Something strange is happening!");
		}
	}
	/* USER CODE END StartTaskReceive */
}

void StartTaskSend(void *argument) {
	/* USER CODE BEGIN StartTaskSend */
	/* Infinite loop */
	UNUSED(argument);

	FDCAN_TxHeaderTypeDef localTxHeader;
	const uint8_t msg_delay = 100;
	uint8_t updateState;

	localTxHeader.IdType = FDCAN_STANDARD_ID;
	localTxHeader.TxFrameType = FDCAN_DATA_FRAME;
	localTxHeader.ErrorStateIndicator = FDCAN_ESI_ACTIVE;
	localTxHeader.BitRateSwitch = FDCAN_BRS_OFF;
	localTxHeader.FDFormat = FDCAN_CLASSIC_CAN;
	localTxHeader.TxEventFifoControl = FDCAN_NO_TX_EVENTS;
	localTxHeader.MessageMarker = 0;

	uint8_t can_sync_led = 0;
	uint32_t sync_led_last = 0;
	uint32_t sync_led_this;

	HAL_GPIO_WritePin(CAN_STBY_GPIO_Port, CAN_STBY_Pin, GPIO_PIN_RESET);

	for (;;) {

		sync_led_this = osKernelGetTickCount();
		if (sync_led_this - sync_led_last > 500) {
			sync_led_last = sync_led_this;
			localTxHeader.Identifier = FDCAN_SYNCLED_ID;
			localTxHeader.DataLength = FDCAN_DLC_BYTES_1;
			can_sync_led = (can_sync_led == 0) ? 1 : 0;
			if (HAL_FDCAN_GetTxFifoFreeLevel(&hfdcan2) != 0) {
				if (HAL_FDCAN_AddMessageToTxFifoQ(&hfdcan2, &localTxHeader,
						&can_sync_led) != HAL_OK) {
					Error_Handler();
				}
				if (can_sync_led == 1) {
					HAL_GPIO_WritePin(LED4_GPIO_Port, LED4_Pin, GPIO_PIN_SET);
					HAL_GPIO_WritePin(LED2_GPIO_Port, LED2_Pin, GPIO_PIN_SET);
				} else {
					HAL_GPIO_WritePin(LED4_GPIO_Port, LED4_Pin, GPIO_PIN_RESET);
					HAL_GPIO_WritePin(LED2_GPIO_Port, LED2_Pin, GPIO_PIN_RESET);
				}
			} else {
				log_warn("Tx Buffer Full");
			}
		}
		osDelay(msg_delay);

		localTxHeader.Identifier = FDCAN_FCCPACK1_ID;
		localTxHeader.DataLength = FDCAN_DLC_BYTES_8;
		if (HAL_FDCAN_GetTxFifoFreeLevel(&hfdcan2) != 0) {
			if (HAL_FDCAN_AddMessageToTxFifoQ(&hfdcan2, &localTxHeader,
					fc_data1.FDCAN_RawFccPack) != HAL_OK) {
				Error_Handler();
			}
		} else {
			log_warn("Tx Buffer Full");
		}
		osDelay(msg_delay);

// If the appropriate button flag is raised and bit 8 is not raised (h2
// alarm) try to send a new state to FET board
		;
		if (READ_BIT(button_flags, 0x01) == 1 &&
		READ_BIT(button_flags, 1 << 7) == 0) {

			localTxHeader.Identifier = FDCAN_RELSTATE_ID;
			localTxHeader.DataLength = FDCAN_DLC_BYTES_1;
			localTxHeader.FDFormat = FDCAN_CLASSIC_CAN;
			updateState =
					(relay_state == RELAY_STBY) ? RELAY_STRTP : RELAY_STBY;
			if (HAL_FDCAN_GetTxFifoFreeLevel(&hfdcan2) != 0) {

				if (HAL_FDCAN_AddMessageToTxFifoQ(&hfdcan2, &localTxHeader,
						(uint8_t*) &updateState) != HAL_OK) {
					Error_Handler();
				}
				// Clear the button flag
				CLEAR_BIT(button_flags, 0x01);
			} else {
				// Button flag not cleared
				log_warn("Tx Buffer Full: button flag 0x01 not cleared");
			}
		}
	}
	/* USER CODE END StartTaskSend */
}

void valveContrl(void *argument) {
	/* USER CODE BEGIN valveContrl */
	/* Infinite loop */
	uint8_t status = 0;
	uint8_t startupPurge = 0;

	for (;;) {
		if (READ_BIT(button_flags, 1 << 7) == (1 << 7)) {
			HAL_GPIO_WritePin(SUPPLYvlve_GPIO_Port, SUPPLYvlve_Pin,
					GPIO_PIN_RESET);
			HAL_GPIO_WritePin(PURGEvlve_GPIO_Port, PURGEvlve_Pin,
					GPIO_PIN_RESET);
			HAL_GPIO_WritePin(LED3_GPIO_Port, LED3_Pin, GPIO_PIN_RESET);
			HAL_GPIO_WritePin(LED1_GPIO_Port, LED1_Pin, GPIO_PIN_RESET);
		} else {
// returns 1 or 0 depending on status
			status = osTimerIsRunning(purgetimerHandle);

// Switch through valid solenoid states
			if (relay_state == RELAY_STBY) {
				HAL_GPIO_WritePin(SUPPLYvlve_GPIO_Port, SUPPLYvlve_Pin,
						GPIO_PIN_RESET);
				HAL_GPIO_WritePin(PURGEvlve_GPIO_Port, PURGEvlve_Pin,
						GPIO_PIN_RESET);
				if (status == 1) {
					osTimerStop(purgetimerHandle); // kill purge cycle
				}

				HAL_GPIO_WritePin(LED3_GPIO_Port, LED3_Pin, GPIO_PIN_RESET);
				HAL_GPIO_WritePin(LED1_GPIO_Port, LED1_Pin, GPIO_PIN_RESET);

				startupPurge = 0;

			} else if (relay_state == RELAY_STRTP) {
				if (startupPurge == 0) {
					HAL_GPIO_WritePin(SUPPLYvlve_GPIO_Port,
					SUPPLYvlve_Pin, GPIO_PIN_SET);
					HAL_GPIO_WritePin(LED3_GPIO_Port, LED3_Pin, GPIO_PIN_SET);
					HAL_GPIO_WritePin(LED1_GPIO_Port, LED1_Pin, GPIO_PIN_RESET);

					osDelay(100);
					HAL_GPIO_WritePin(PURGEvlve_GPIO_Port,
					PURGEvlve_Pin, GPIO_PIN_SET);
					HAL_GPIO_WritePin(LED1_GPIO_Port, LED1_Pin, GPIO_PIN_SET);
					osDelay(purgeTime_ms);
					HAL_GPIO_WritePin(PURGEvlve_GPIO_Port,
					PURGEvlve_Pin, GPIO_PIN_RESET);
					HAL_GPIO_WritePin(LED1_GPIO_Port, LED1_Pin, GPIO_PIN_RESET);
					lastPurge_ms = HAL_GetTick();
					startupPurge = 1;
				}

			} else {
				// If either FET_CHRGE or FET_RUN this code is what we need
				if (FC_substate == PURGE_TIMED) {

					HAL_GPIO_WritePin(SUPPLYvlve_GPIO_Port,
					SUPPLYvlve_Pin, GPIO_PIN_SET);
					HAL_GPIO_WritePin(LED3_GPIO_Port, LED3_Pin, GPIO_PIN_SET);
					HAL_GPIO_WritePin(LED1_GPIO_Port, LED1_Pin, GPIO_PIN_RESET);

					if (startupPurge == 0) {
						HAL_GPIO_WritePin(PURGEvlve_GPIO_Port,
						PURGEvlve_Pin, GPIO_PIN_SET);
						HAL_GPIO_WritePin(LED1_GPIO_Port, LED1_Pin,
								GPIO_PIN_SET);
						osDelay(purgeTime_ms);
						HAL_GPIO_WritePin(PURGEvlve_GPIO_Port,
						PURGEvlve_Pin, GPIO_PIN_RESET);
						HAL_GPIO_WritePin(LED1_GPIO_Port, LED1_Pin,
								GPIO_PIN_RESET);
						lastPurge_ms = HAL_GetTick();
						startupPurge = 1;
						purge_timer_flag = 0;

					}

//					if (purge_force_flag == 1) {
//						HAL_GPIO_WritePin(PURGEvlve_GPIO_Port, PURGEvlve_Pin,
//								GPIO_PIN_SET);
//						HAL_GPIO_WritePin(LED1_GPIO_Port, LED1_Pin,
//								GPIO_PIN_SET);
//						osDelay(purgeTime_ms);
//						HAL_GPIO_WritePin(PURGEvlve_GPIO_Port, PURGEvlve_Pin,
//								GPIO_PIN_RESET);
//						HAL_GPIO_WritePin(LED1_GPIO_Port, LED1_Pin,
//								GPIO_PIN_RESET);
//						purge_force_flag = 0;
//					}

					if (purge_timer_flag == 1) {
						osTimerStop(purgetimerHandle);
						osTimerStart(purgetimerHandle, purgeDelay_ms);
						purge_timer_flag = 0;
					}
					if (status == 0) {
						osTimerStart(purgetimerHandle, purgeDelay_ms);
					}

					HAL_GPIO_WritePin(LED3_GPIO_Port, LED3_Pin, GPIO_PIN_SET);

				} else if (FC_substate == PURGE_CHARGE) {
					if (status == 1) {
						osTimerStop(purgetimerHandle); // kill purge timed cycle
					}

					fc_charge = charge_data.fc_coloumbs / FDCAN_FOUR_FLT_PREC;

					if (fc_charge - fc_charge_last >= 2300) {
						HAL_GPIO_WritePin(PURGEvlve_GPIO_Port,
						PURGEvlve_Pin, GPIO_PIN_SET);
						HAL_GPIO_WritePin(LED1_GPIO_Port, LED1_Pin,
								GPIO_PIN_SET);
						osDelay(purgeTime_ms);
						HAL_GPIO_WritePin(PURGEvlve_GPIO_Port,
						PURGEvlve_Pin, GPIO_PIN_RESET);
						HAL_GPIO_WritePin(LED1_GPIO_Port, LED1_Pin,
								GPIO_PIN_RESET);
						lastPurge_ms = HAL_GetTick();
						fc_charge_last = fc_charge;

					}

				}

			}
		}
		if (purge_force_flag == 1) {
			HAL_GPIO_WritePin(PURGEvlve_GPIO_Port,
			PURGEvlve_Pin, GPIO_PIN_SET);
			HAL_GPIO_WritePin(LED1_GPIO_Port, LED1_Pin, GPIO_PIN_SET);
			osDelay(purgeTime_ms);
			HAL_GPIO_WritePin(PURGEvlve_GPIO_Port,
			PURGEvlve_Pin, GPIO_PIN_RESET);
			HAL_GPIO_WritePin(LED1_GPIO_Port, LED1_Pin, GPIO_PIN_RESET);
			lastPurge_ms = HAL_GetTick();
			purge_force_flag = 0;

		}
		HAL_GPIO_WritePin(LED1_GPIO_Port, LED1_Pin, GPIO_PIN_RESET);

		osDelay(1);
	}
	/* USER CODE END valveContrl */
}

void StartFuelCellData(void *argument) {
	/* USER CODE BEGIN StartFuelCellData */
// Following for
#define DELAY_FOR_CHANNEL_SWITCH 20
#define B 3950.0f
#define VOLT_2_TEMP(x)                                                         \
  (B * 298.15f /                                                               \
   (298.15f * logf(100.0f / (100.0f * (3.3f / x - 1.0f))) + B)) -              \
      273.15f
#define VOLT_2_PRES(x) (x - 2.3555F) / 0.1038F

#define VOLT_TO_RES(V) 100000.0f * V/(3.3f - V);
#define RES_TO_TEMP(R) 14.98f * log(299.7f/(R - 22.32f))

	const float VOLT_CONVERSION = 4.094F / 32768.0F;
	const float TRANSFER_FUNC_P = 0.657F;

	uint16_t step;
	float step2, step3;
	float thermTemp = 0, thermResist = 0;

	uint32_t this_print, last_print = 0;

	HAL_TIM_PWM_Start(&htim2, TIM_CHANNEL_2);
	HAL_TIM_PWM_Start(&htim3, TIM_CHANNEL_1);

// Initialize the PID loop
// Refer to documentation on the parameters and
// transfer function used
	PID_Init(&myPid);

	if (osTimerStart(tachtimerHandle, TACH_TIMER_INTERVAL) != osOK
			|| osTimerStart(pidtimerHandle, PID_TIMER_INTERVAL) != osOK) {
		Error_Handler();
	}

	osSemaphoreAcquire(i2cSemaHandle, osWaitForever);
// TODO: Add lis3dh initialization code here
	osSemaphoreRelease(i2cSemaHandle);

	/* Infinite loop */
	for (;;) {

// Gather ADC Values for temp & pressure from fuel cell over I2C
		configReg.channel = CHANNEL_AIN0_GND;
		if (osSemaphoreAcquire(i2cSemaHandle, 1000) == osOK) {
			ADS1115_updateConfig(pADS_1, configReg);
			osSemaphoreRelease(i2cSemaHandle);
		}
		osDelay(DELAY_FOR_CHANNEL_SWITCH);
		if (osSemaphoreAcquire(i2cSemaHandle, 1000) == osOK) {
			step = ADS1115_getData(pADS_1);
			osSemaphoreRelease(i2cSemaHandle);
		}
		step2 = step * VOLT_CONVERSION;
		step3 = VOLT_2_TEMP(step2);
		fc_data1.fc_temp = (int32_t) (step3 * FDCAN_FOUR_FLT_PREC);

		thermResist = VOLT_TO_RES(step2)
		;
		thermTemp = RES_TO_TEMP(thermResist);

		configReg.channel = CHANNEL_AIN1_GND;
		if (osSemaphoreAcquire(i2cSemaHandle, 1000) == osOK) {
			ADS1115_updateConfig(pADS_1, configReg);
			osSemaphoreRelease(i2cSemaHandle);
		}
		osDelay(DELAY_FOR_CHANNEL_SWITCH);
		if (osSemaphoreAcquire(i2cSemaHandle, 1000) == osOK) {
			step = ADS1115_getData(pADS_1);
			osSemaphoreRelease(i2cSemaHandle);
		}
		step2 = step * VOLT_CONVERSION;
		fc_data1.fc_press = (uint32_t) (VOLT_2_PRES(step2 / TRANSFER_FUNC_P)
				* FDCAN_FOUR_FLT_PREC);

		this_print = osKernelGetTickCount();
		if (this_print - last_print >= 1000) {
			last_print = this_print;
			printf(
					"FC PRES: %f, FC TEMP: %f, PID: %f, Duty %d, RPMs: %d %d\r\n",
					(float) fc_data1.fc_press / FDCAN_FOUR_FLT_PREC,
					(float) fc_data1.fc_temp / FDCAN_FOUR_FLT_PREC, myPid.y[0],
					100 - htim2.Instance->CCR2, fc_data2.fan_rpm1,
					fc_data2.fan_rpm2);
			printf("Therm Resistance: %f\tTherm Temp: %f\r\n", thermResist,
					thermTemp);
		}
	}
	/* USER CODE END StartFuelCellData */
}

/* purgeValveTimer function */
void purgeValveTimer(void *argument) {
	/* USER CODE BEGIN purgeValveTimer */
	HAL_GPIO_WritePin(PURGEvlve_GPIO_Port, PURGEvlve_Pin, GPIO_PIN_SET);
	HAL_GPIO_WritePin(LED1_GPIO_Port, LED1_Pin, GPIO_PIN_SET);
	osDelay(purgeTime_ms);
	HAL_GPIO_WritePin(PURGEvlve_GPIO_Port, PURGEvlve_Pin, GPIO_PIN_RESET);
	HAL_GPIO_WritePin(LED1_GPIO_Port, LED1_Pin, GPIO_PIN_RESET);
	/* USER CODE END purgeValveTimer */
}

/* USER CODE BEGIN Application */
void calcTachRpmTimer(void *argument) {
// TACH_TIMER_INTERVAL is in ms and there are two pulses per period
	fc_data2.fan_rpm1 = (TachTracker[0] / (TACH_TIMER_INTERVAL / 1000 * 2));
	fc_data2.fan_rpm2 = (TachTracker[1] / (TACH_TIMER_INTERVAL / 1000 * 2));
	TachTracker[0] = TachTracker[1] = 0;

// Currently these are unused
	TachTracker[2] = TachTracker[3] = 0;
}

void calcPidTimer(void *argument) {
	if (fan_toggle == 0) {
		float duty_cycle;
		duty_cycle = PID_Compute(&myPid, fcSetpointTemp,
				(float) fc_data1.fc_temp / FDCAN_FOUR_FLT_PREC);
		htim2.Instance->CCR2 = 100 - (uint32_t) duty_cycle;
		htim3.Instance->CCR1 = 100 - (uint32_t) duty_cycle;
	} else if (fan_toggle == 1) {
		htim2.Instance->CCR2 = 100;
		htim3.Instance->CCR1 = 100;
	}

}

// Initialize PID controller
void PID_Init(pidParam_t *pid) {
// Discrete transfer function coefficients (Tustin approximation)
// Retrieved from matlab script
	pid->num[0] = 5.0f;
	pid->num[1] = -5.0f;
	pid->num[2] = 0.0f;

	pid->den[0] = 1.0f; // technically dont need this but show for completeness
	pid->den[1] = -1.0f;
	pid->den[2] = 0.0f;

// Initialize history buffers
	for (uint8_t i = 0; i < 3; i++) {
		pid->u[i] = 0.0;
		pid->y[i] = 0.0;
	}
}

// Compute PID output using discrete transfer function
float PID_Compute(pidParam_t *pid, float setpoint, float measured_temp) {
	float error = measured_temp - setpoint;
	float out;

// Shift previous values
	pid->u[2] = pid->u[1];
	pid->u[1] = pid->u[0];
	pid->u[0] = error;
	pid->y[2] = pid->y[1];
	pid->y[1] = pid->y[0];

// Compute output using transfer function
	pid->y[0] = (pid->num[0] * pid->u[0] + pid->num[1] * pid->u[1]
			+ pid->num[2] * pid->u[2])
			- (pid->den[1] * pid->y[1] + pid->den[2] * pid->y[2]);

// Clamp output to valid duty cycle range (0-100%)
	out = pid->y[0];
	if (out > 100.0)
		out = 100.0;
	if (out < 40.0)
// Minimum airflow
		out = 40.0;

	return out;
}

/* USER CODE END Application */
